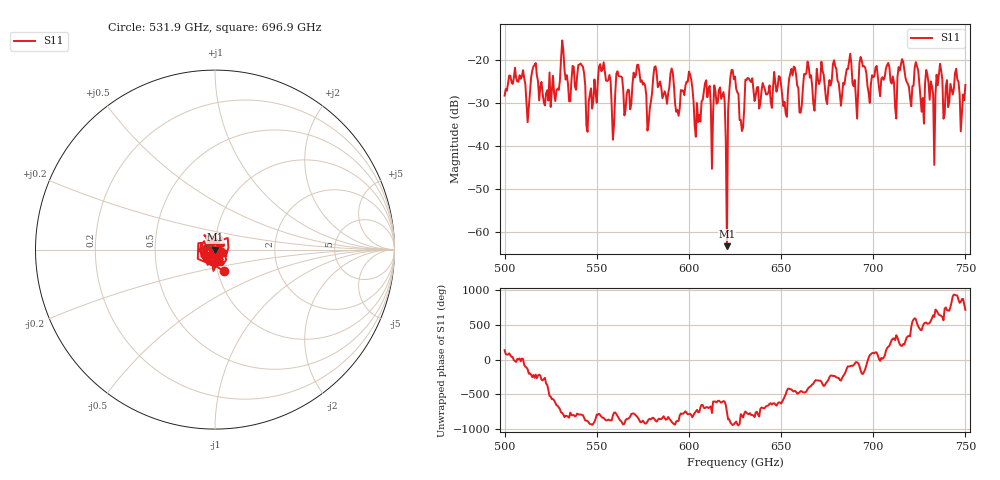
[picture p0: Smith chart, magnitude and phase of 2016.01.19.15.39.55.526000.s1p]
!Created with skrf (http://scikit-rf.org).
# GHz S RI R 50.0
!freq ReS11 ImS11
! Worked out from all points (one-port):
!   401 points, 500 GHz to 750 GHz, reference 50 ohm
!   lowest |S11| = -63.2 dB at 620.6 GHz (marker M1), VSWR 1.00, Z = 50.1 - j0.0374 ohm
!   |S11| at or under -10 dB: start of sweep to end of sweep
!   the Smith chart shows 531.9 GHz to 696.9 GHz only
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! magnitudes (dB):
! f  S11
! 500 GHz  -28.2
! 528.1 GHz  -27.1
! 531.2 GHz  -15.4
! 541.9 GHz  -21.2
! 545.6 GHz  -29.7
! 552.5 GHz  -22.6
! 558.8 GHz  -38.5
! 562.5 GHz  -23.8
! 573.1 GHz  -22.8
! 578.1 GHz  -34.7
! 581.2 GHz  -21.7
! 590.6 GHz  -21.9
! 593.8 GHz  -31.5
! 600 GHz  -22.7
! 604.4 GHz  -29.9
! 617.5 GHz  -29.0
! 620.6 GHz  -63.2
! 622.5 GHz  -24.0
! 625 GHz  -23.8
! 628.8 GHz  -36.5
! 631.9 GHz  -24.1
! 651.9 GHz  -29.7
! 656.2 GHz  -23.6
! 660.6 GHz  -32.2
! 663.8 GHz  -23.0
! 687.5 GHz  -18.5
! 718.8 GHz  -25.5
! 750 GHz  -25.7
